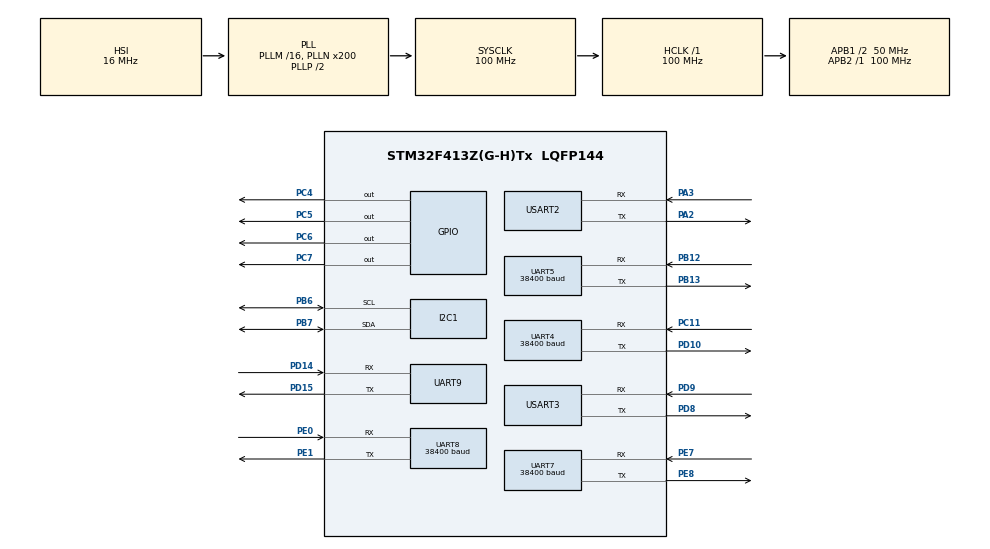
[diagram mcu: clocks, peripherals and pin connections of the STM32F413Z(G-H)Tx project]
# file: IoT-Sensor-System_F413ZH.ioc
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Dma.Request0=USART2_RX
Dma.USART2_RX.0.Direction=DMA_PERIPH_TO_MEMORY
Dma.USART2_RX.0.FIFOMode=DMA_FIFOMODE_DISABLE
Dma.USART2_RX.0.Instance=DMA1_Stream5
Dma.USART2_RX.0.MemDataAlignment=DMA_MDATAALIGN_BYTE
Dma.USART2_RX.0.MemInc=DMA_MINC_ENABLE
Dma.USART2_RX.0.Mode=DMA_CIRCULAR
Dma.USART2_RX.0.PeriphDataAlignment=DMA_PDATAALIGN_BYTE
Dma.USART2_RX.0.PeriphInc=DMA_PINC_DISABLE
Dma.USART2_RX.0.Priority=DMA_PRIORITY_LOW
Mcu.Family=STM32F4
Mcu.Name=STM32F413Z(G-H)Tx
Mcu.Package=LQFP144
NVIC.DMA1_Stream5_IRQn=true\:0\:0\:false\:false\:true\:false\:true
NVIC.PriorityGroup=NVIC_PRIORITYGROUP_4
NVIC.TIM2_IRQn=true\:0\:0\:false\:false\:true\:true\:true
NVIC.USART2_IRQn=true\:0\:0\:false\:false\:true\:true\:true
PA13.Mode=Serial_Wire
PA13.Signal=SYS_JTMS-SWDIO
PA14.Mode=Serial_Wire
PA14.Signal=SYS_JTCK-SWCLK
PA2.Mode=Asynchronous
PA2.Signal=USART2_TX
PA3.Mode=Asynchronous
PA3.Signal=USART2_RX
PB12.Mode=Asynchronous
PB12.Signal=UART5_RX
PB13.Mode=Asynchronous
PB13.Signal=UART5_TX
PB6.GPIO_PuPdOD=GPIO_NOPULL
PB6.Mode=I2C
PB6.Signal=I2C1_SCL
PB7.GPIO_PuPdOD=GPIO_NOPULL
PB7.Mode=I2C
PB7.Signal=I2C1_SDA
PC11.Mode=Asynchronous
PC11.Signal=UART4_RX
PC4.GPIO_PuPd=GPIO_PULLDOWN
PC4.Signal=GPIO_Output
PC5.GPIO_PuPd=GPIO_PULLDOWN
PC5.Signal=GPIO_Output
PC6.GPIO_PuPd=GPIO_PULLDOWN
PC6.Signal=GPIO_Output
PC7.GPIO_PuPd=GPIO_PULLDOWN
PC7.Signal=GPIO_Output
PD10.Mode=Asynchronous
PD10.Signal=UART4_TX
PD14.Mode=Asynchronous
PD14.Signal=UART9_RX
PD15.Mode=Asynchronous
PD15.Signal=UART9_TX
PD8.Mode=Asynchronous
PD8.Signal=USART3_TX
PD9.Mode=Asynchronous
PD9.Signal=USART3_RX
PE0.Mode=Asynchronous
PE0.Signal=UART8_RX
PE1.Mode=Asynchronous
PE1.Signal=UART8_TX
PE7.Mode=Asynchronous
PE7.Signal=UART7_RX
PE8.Mode=Asynchronous
PE8.Signal=UART7_TX
ProjectManager.HeapSize=0x200
ProjectManager.StackSize=0x400
ProjectManager.TargetToolchain=STM32CubeIDE
RCC.AHBFreq_Value=100000000
RCC.APB1CLKDivider=RCC_HCLK_DIV2
RCC.APB1Freq_Value=50000000
RCC.APB1TimFreq_Value=100000000
RCC.APB2Freq_Value=100000000
RCC.APB2TimFreq_Value=100000000
RCC.CortexFreq_Value=100000000
RCC.HCLKFreq_Value=100000000
RCC.PLLN=200
RCC.SYSCLKFreq_VALUE=100000000
RCC.SYSCLKSource=RCC_SYSCLKSOURCE_PLLCLK
RCC.USBFreq_Value=100000000
RCC.VCOOutputFreq_Value=200000000
TIM2.Period=6000000
TIM2.Prescaler=1000
UART4.BaudRate=38400
UART4.VirtualMode=Asynchronous
UART5.BaudRate=38400
UART5.VirtualMode=Asynchronous
UART7.BaudRate=38400
UART7.VirtualMode=Asynchronous
UART8.BaudRate=38400
UART8.VirtualMode=Asynchronous
UART9.VirtualMode=Asynchronous
USART2.VirtualMode=VM_ASYNC
USART3.VirtualMode=VM_ASYNC
VP_RTC_VS_RTC_Activate.Mode=RTC_Enabled
VP_RTC_VS_RTC_Calendar.Mode=RTC_Calendar
VP_TIM2_VS_ClockSourceINT.Mode=Internal
board=custom

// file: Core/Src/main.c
/* USER CODE BEGIN Header */
/**
  ******************************************************************************
  * @file           : main.c
  * @brief          : Main program body
  ******************************************************************************
  * @attention
  *
  * <h2><center>&copy; Copyright (c) 2021 STMicroelectronics.
  * All rights reserved.</center></h2>
  *
  * This software component is licensed by ST under BSD 3-Clause license,
  * the "License"; You may not use this file except in compliance with the
  * License. You may obtain a copy of the License at:
  *                        opensource.org/licenses/BSD-3-Clause
  *
  ******************************************************************************
  */
/* USER CODE END Header */
#include "main.h"

/* USER CODE BEGIN Includes */
#include "ESP32_Driver.h"
#include "RL78_Sensor.h"
#include "SHTC3_Driver.h"
#include "retarget.h"

#include "string.h"
#include "stdio.h"
#include "time.h"
/* USER CODE END Includes */

/* USER CODE BEGIN PD */
#define _SSID "aterm-460e2a-g"
#define _PASS "173ecaa68d508"
#define PRODUCT_TYPE	"IoTSensorUnit01"
#define NUMBER			"2101-1234567890"

//#define AWS_POST_TIME (10*60000)
#define AWS_POST_TIME (2*60000)
/* USER CODE END PD */

I2C_HandleTypeDef hi2c1;

RTC_HandleTypeDef hrtc;

TIM_HandleTypeDef htim2;

UART_HandleTypeDef huart4;
UART_HandleTypeDef huart5;
UART_HandleTypeDef huart7;
UART_HandleTypeDef huart8;
UART_HandleTypeDef huart9;
UART_HandleTypeDef huart2;
UART_HandleTypeDef huart3;
DMA_HandleTypeDef hdma_usart2_rx;

/* USER CODE BEGIN PV */
Network_t ESP32 = {0};
Sensor_t Sensor_1 = {0};
Sensor_t Sensor_2 = {0};
Sensor_t Sensor_3 = {0};
Sensor_t Sensor_4 = {0};

SHTC3_Sensor_t HT_Sensor = {0};

uint8_t mqttBuffer[30720] = {0};
uint8_t msgIndex = 0;
uint8_t client_id[32] = {0};
/* USER CODE END PV */

void SystemClock_Config(void);
static void MX_GPIO_Init(void);
static void MX_DMA_Init(void);
static void MX_RTC_Init(void);
static void MX_UART4_Init(void);
static void MX_UART5_Init(void);
static void MX_UART7_Init(void);
static void MX_UART8_Init(void);
static void MX_USART2_UART_Init(void);
static void MX_USART3_UART_Init(void);
static void MX_I2C1_Init(void);
static void MX_UART9_Init(void);
static void MX_TIM2_Init(void);
/* USER CODE BEGIN PFP */
int16_t Receive_Func( uint8_t *buffer, uint16_t buffer_size, uint32_t time_out);
int16_t Transmit_Func( uint8_t *data, uint16_t data_size);
void Get_Time_Format(uint8_t* time_str, int size ,int timeZone);
void Format_Data(Sensor_t Sensor_1,Sensor_t Sensor_2,Sensor_t Sensor_3,Sensor_t Sensor_4, SHTC3_Sensor_t HT_Sensor,char* data_format, char* time_str);
/* USER CODE END PFP */

int main(void)
{

  /* MCU Configuration--------------------------------------------------------*/

  /* Reset of all peripherals, Initializes the Flash interface and the Systick. */
  HAL_Init();

  /* Configure the system clock */
  SystemClock_Config();

  /* Initialize all configured peripherals */
  MX_GPIO_Init();
  MX_DMA_Init();
  MX_RTC_Init();
  MX_UART4_Init();
  MX_UART5_Init();
  MX_UART7_Init();
  MX_UART8_Init();
  MX_USART2_UART_Init();
  MX_USART3_UART_Init();
  MX_I2C1_Init();
  MX_UART9_Init();
  /* USER CODE BEGIN 2 */
  RetargetInit(&huart9);
  memcpy(ESP32.SSID, _SSID, strlen(_SSID));
  memcpy(ESP32.Pass, _PASS, strlen(_PASS));
  ESP32.IO.IO_Receive = Receive_Func;
  ESP32.IO.IO_Transmit = Transmit_Func;

  printf("----------START PROGRAM----------\r\n");
  sprintf((char*)client_id, "%x%x%x", \
		  (unsigned int)HAL_GetUIDw0(), (unsigned int)HAL_GetUIDw1(), (unsigned int)HAL_GetUIDw2());
  printf("Client ID: %s\r\n", client_id);

  HT_Sensor.interface = &hi2c1;
  SHTC3_Init(&HT_Sensor);
	SHTC3_Measurement(&HT_Sensor);

  Sensor_1.uart_itf = &huart4;
  Sensor_Init(&Sensor_1);

  Sensor_2.uart_itf = &huart5;
  Sensor_Init(&Sensor_2);

  Sensor_3.uart_itf = &huart7;
  Sensor_Init(&Sensor_3);

  Sensor_4.uart_itf = &huart8;
  Sensor_Init(&Sensor_4);

  ESP32_Init(&ESP32);
  ESP32_MQTT_Connect(&ESP32, client_id);
  Network_time_t network_time = ESP32_GetTime();

  RTC_TimeTypeDef sTime = {0};
  sTime.Hours	= network_time.hour;
  sTime.Minutes	= network_time.min;
  sTime.Seconds	= network_time.sec;

  RTC_DateTypeDef sDate = {0};
  sDate.Month	= network_time.month;
  sDate.Date	= network_time.day;
  sDate.Year	= network_time.year - 2000;

  HAL_RTC_SetTime(&hrtc, &sTime, RTC_FORMAT_BIN);
  HAL_RTC_SetDate(&hrtc, &sDate, RTC_FORMAT_BIN);

  MX_TIM2_Init();
  /* USER CODE END 2 */
  HAL_Delay(10000); //Wait 10sec.
  /* Infinite loop */
  /* USER CODE BEGIN WHILE */
  while (1)
  {
	  sprintf((char*)mqttBuffer, "{");
	  HAL_Delay(AWS_POST_TIME);
	  mqttBuffer[strlen((char*)mqttBuffer)-1] = 0;
	  sprintf((char*)mqttBuffer, "%s}", (char*)mqttBuffer);
	  ESP32_MQTT_Public(&ESP32, (uint8_t*)"/devices/IoTSensorUnit", mqttBuffer);
	  memset(mqttBuffer, 0, sizeof(mqttBuffer));
	  msgIndex = 0;

    /* USER CODE END WHILE */

  }
}

void SystemClock_Config(void)
{
  RCC_OscInitTypeDef RCC_OscInitStruct = {0};
  RCC_ClkInitTypeDef RCC_ClkInitStruct = {0};
  RCC_PeriphCLKInitTypeDef PeriphClkInitStruct = {0};

  /** Configure the main internal regulator output voltage
  */
  __HAL_RCC_PWR_CLK_ENABLE();
  __HAL_PWR_VOLTAGESCALING_CONFIG(PWR_REGULATOR_VOLTAGE_SCALE1);
  /** Initializes the RCC Oscillators according to the specified parameters
  * in the RCC_OscInitTypeDef structure.
  */
  RCC_OscInitStruct.OscillatorType = RCC_OSCILLATORTYPE_HSI|RCC_OSCILLATORTYPE_LSI;
  RCC_OscInitStruct.HSIState = RCC_HSI_ON;
  RCC_OscInitStruct.HSICalibrationValue = RCC_HSICALIBRATION_DEFAULT;
  RCC_OscInitStruct.LSIState = RCC_LSI_ON;
  RCC_OscInitStruct.PLL.PLLState = RCC_PLL_ON;
  RCC_OscInitStruct.PLL.PLLSource = RCC_PLLSOURCE_HSI;
  RCC_OscInitStruct.PLL.PLLM = 16;
  RCC_OscInitStruct.PLL.PLLN = 200;
  RCC_OscInitStruct.PLL.PLLP = RCC_PLLP_DIV2;
  RCC_OscInitStruct.PLL.PLLQ = 2;
  RCC_OscInitStruct.PLL.PLLR = 2;
  if (HAL_RCC_OscConfig(&RCC_OscInitStruct) != HAL_OK)
  {
    Error_Handler();
  }
  /** Initializes the CPU, AHB and APB buses clocks
  */
  RCC_ClkInitStruct.ClockType = RCC_CLOCKTYPE_HCLK|RCC_CLOCKTYPE_SYSCLK
                              |RCC_CLOCKTYPE_PCLK1|RCC_CLOCKTYPE_PCLK2;
  RCC_ClkInitStruct.SYSCLKSource = RCC_SYSCLKSOURCE_PLLCLK;
  RCC_ClkInitStruct.AHBCLKDivider = RCC_SYSCLK_DIV1;
  RCC_ClkInitStruct.APB1CLKDivider = RCC_HCLK_DIV2;
  RCC_ClkInitStruct.APB2CLKDivider = RCC_HCLK_DIV1;

  if (HAL_RCC_ClockConfig(&RCC_ClkInitStruct, FLASH_LATENCY_3) != HAL_OK)
  {
    Error_Handler();
  }
  PeriphClkInitStruct.PeriphClockSelection = RCC_PERIPHCLK_RTC;
  PeriphClkInitStruct.RTCClockSelection = RCC_RTCCLKSOURCE_LSI;
  if (HAL_RCCEx_PeriphCLKConfig(&PeriphClkInitStruct) != HAL_OK)
  {
    Error_Handler();
  }
}

static void MX_I2C1_Init(void)
{

  hi2c1.Instance = I2C1;
  hi2c1.Init.ClockSpeed = 100000;
  hi2c1.Init.DutyCycle = I2C_DUTYCYCLE_2;
  hi2c1.Init.OwnAddress1 = 0;
  hi2c1.Init.AddressingMode = I2C_ADDRESSINGMODE_7BIT;
  hi2c1.Init.DualAddressMode = I2C_DUALADDRESS_DISABLE;
  hi2c1.Init.OwnAddress2 = 0;
  hi2c1.Init.GeneralCallMode = I2C_GENERALCALL_DISABLE;
  hi2c1.Init.NoStretchMode = I2C_NOSTRETCH_DISABLE;
  if (HAL_I2C_Init(&hi2c1) != HAL_OK)
  {
    Error_Handler();
  }

}

static void MX_RTC_Init(void)
{

  RTC_TimeTypeDef sTime = {0};
  RTC_DateTypeDef sDate = {0};

  /** Initialize RTC Only
  */
  hrtc.Instance = RTC;
  hrtc.Init.HourFormat = RTC_HOURFORMAT_24;
  hrtc.Init.AsynchPrediv = 127;
  hrtc.Init.SynchPrediv = 255;
  hrtc.Init.OutPut = RTC_OUTPUT_DISABLE;
  hrtc.Init.OutPutPolarity = RTC_OUTPUT_POLARITY_HIGH;
  hrtc.Init.OutPutType = RTC_OUTPUT_TYPE_OPENDRAIN;
  if (HAL_RTC_Init(&hrtc) != HAL_OK)
  {
    Error_Handler();
  }

  /** Initialize RTC and set the Time and Date
  */
  sTime.Hours = 0x0;
  sTime.Minutes = 0x0;
  sTime.Seconds = 0x0;
  sTime.DayLightSaving = RTC_DAYLIGHTSAVING_NONE;
  sTime.StoreOperation = RTC_STOREOPERATION_RESET;
  if (HAL_RTC_SetTime(&hrtc, &sTime, RTC_FORMAT_BCD) != HAL_OK)
  {
    Error_Handler();
  }
  sDate.WeekDay = RTC_WEEKDAY_MONDAY;
  sDate.Month = RTC_MONTH_JANUARY;
  sDate.Date = 0x1;
  sDate.Year = 0x0;

  if (HAL_RTC_SetDate(&hrtc, &sDate, RTC_FORMAT_BCD) != HAL_OK)
  {
    Error_Handler();
  }

}

static void MX_TIM2_Init(void)
{

  TIM_ClockConfigTypeDef sClockSourceConfig = {0};
  TIM_MasterConfigTypeDef sMasterConfig = {0};

  htim2.Instance = TIM2;
  htim2.Init.Prescaler = 1000;
  htim2.Init.CounterMode = TIM_COUNTERMODE_UP;
  htim2.Init.Period = 6000000;
  htim2.Init.ClockDivision = TIM_CLOCKDIVISION_DIV1;
  htim2.Init.AutoReloadPreload = TIM_AUTORELOAD_PRELOAD_DISABLE;
  if (HAL_TIM_Base_Init(&htim2) != HAL_OK)
  {
    Error_Handler();
  }
  sClockSourceConfig.ClockSource = TIM_CLOCKSOURCE_INTERNAL;
  if (HAL_TIM_ConfigClockSource(&htim2, &sClockSourceConfig) != HAL_OK)
  {
    Error_Handler();
  }
  sMasterConfig.MasterOutputTrigger = TIM_TRGO_RESET;
  sMasterConfig.MasterSlaveMode = TIM_MASTERSLAVEMODE_DISABLE;
  if (HAL_TIMEx_MasterConfigSynchronization(&htim2, &sMasterConfig) != HAL_OK)
  {
    Error_Handler();
  }
  /* USER CODE BEGIN TIM2_Init 2 */
  __HAL_TIM_CLEAR_FLAG(&htim2, TIM_FLAG_UPDATE);
  __HAL_TIM_ENABLE_IT(&htim2, TIM_IT_UPDATE);
  HAL_TIM_Base_Start_IT(&htim2);
  /* USER CODE END TIM2_Init 2 */

}

static void MX_UART4_Init(void)
{

  huart4.Instance = UART4;
  huart4.Init.BaudRate = 38400;
  huart4.Init.WordLength = UART_WORDLENGTH_8B;
  huart4.Init.StopBits = UART_STOPBITS_1;
  huart4.Init.Parity = UART_PARITY_NONE;
  huart4.Init.Mode = UART_MODE_TX_RX;
  huart4.Init.HwFlowCtl = UART_HWCONTROL_NONE;
  huart4.Init.OverSampling = UART_OVERSAMPLING_16;
  if (HAL_UART_Init(&huart4) != HAL_OK)
  {
    Error_Handler();
  }

}

static void MX_UART5_Init(void)
{

  huart5.Instance = UART5;
  huart5.Init.BaudRate = 38400;
  huart5.Init.WordLength = UART_WORDLENGTH_8B;
  huart5.Init.StopBits = UART_STOPBITS_1;
  huart5.Init.Parity = UART_PARITY_NONE;
  huart5.Init.Mode = UART_MODE_TX_RX;
  huart5.Init.HwFlowCtl = UART_HWCONTROL_NONE;
  huart5.Init.OverSampling = UART_OVERSAMPLING_16;
  if (HAL_UART_Init(&huart5) != HAL_OK)
  {
    Error_Handler();
  }

}

static void MX_UART7_Init(void)
{

  huart7.Instance = UART7;
  huart7.Init.BaudRate = 38400;
  huart7.Init.WordLength = UART_WORDLENGTH_8B;
  huart7.Init.StopBits = UART_STOPBITS_1;
  huart7.Init.Parity = UART_PARITY_NONE;
  huart7.Init.Mode = UART_MODE_TX_RX;
  huart7.Init.HwFlowCtl = UART_HWCONTROL_NONE;
  huart7.Init.OverSampling = UART_OVERSAMPLING_16;
  if (HAL_UART_Init(&huart7) != HAL_OK)
  {
    Error_Handler();
  }

}

static void MX_UART8_Init(void)
{

  huart8.Instance = UART8;
  huart8.Init.BaudRate = 38400;
  huart8.Init.WordLength = UART_WORDLENGTH_8B;
  huart8.Init.StopBits = UART_STOPBITS_1;
  huart8.Init.Parity = UART_PARITY_NONE;
  huart8.Init.Mode = UART_MODE_TX_RX;
  huart8.Init.HwFlowCtl = UART_HWCONTROL_NONE;
  huart8.Init.OverSampling = UART_OVERSAMPLING_16;
  if (HAL_UART_Init(&huart8) != HAL_OK)
  {
    Error_Handler();
  }

}

static void MX_UART9_Init(void)
{

  huart9.Instance = UART9;
  huart9.Init.BaudRate = 115200;
  huart9.Init.WordLength = UART_WORDLENGTH_8B;
  huart9.Init.StopBits = UART_STOPBITS_1;
  huart9.Init.Parity = UART_PARITY_NONE;
  huart9.Init.Mode = UART_MODE_TX_RX;
  huart9.Init.HwFlowCtl = UART_HWCONTROL_NONE;
  huart9.Init.OverSampling = UART_OVERSAMPLING_16;
  if (HAL_UART_Init(&huart9) != HAL_OK)
  {
    Error_Handler();
  }

}

static void MX_USART2_UART_Init(void)
{

  huart2.Instance = USART2;
  huart2.Init.BaudRate = 115200;
  huart2.Init.WordLength = UART_WORDLENGTH_8B;
  huart2.Init.StopBits = UART_STOPBITS_1;
  huart2.Init.Parity = UART_PARITY_NONE;
  huart2.Init.Mode = UART_MODE_TX_RX;
  huart2.Init.HwFlowCtl = UART_HWCONTROL_NONE;
  huart2.Init.OverSampling = UART_OVERSAMPLING_16;
  if (HAL_UART_Init(&huart2) != HAL_OK)
  {
    Error_Handler();
  }
  /* USER CODE BEGIN USART2_Init 2 */
//  __HAL_UART_ENABLE_IT(&huart2, UART_IT_RXNE);
  HAL_UART_Receive_DMA(&huart2,  ESP32.IO.buffer, BUFFER_SIZE);
  /* USER CODE END USART2_Init 2 */

}

static void MX_USART3_UART_Init(void)
{

  huart3.Instance = USART3;
  huart3.Init.BaudRate = 115200;
  huart3.Init.WordLength = UART_WORDLENGTH_8B;
  huart3.Init.StopBits = UART_STOPBITS_1;
  huart3.Init.Parity = UART_PARITY_NONE;
  huart3.Init.Mode = UART_MODE_TX_RX;
  huart3.Init.HwFlowCtl = UART_HWCONTROL_NONE;
  huart3.Init.OverSampling = UART_OVERSAMPLING_16;
  if (HAL_UART_Init(&huart3) != HAL_OK)
  {
    Error_Handler();
  }

}

static void MX_DMA_Init(void)
{

  /* DMA controller clock enable */
  __HAL_RCC_DMA1_CLK_ENABLE();

  /* DMA interrupt init */
  /* DMA1_Stream5_IRQn interrupt configuration */
  HAL_NVIC_SetPriority(DMA1_Stream5_IRQn, 0, 0);
  HAL_NVIC_EnableIRQ(DMA1_Stream5_IRQn);

}

static void MX_GPIO_Init(void)
{
  GPIO_InitTypeDef GPIO_InitStruct = {0};

  /* GPIO Ports Clock Enable */
  __HAL_RCC_GPIOA_CLK_ENABLE();
  __HAL_RCC_GPIOC_CLK_ENABLE();
  __HAL_RCC_GPIOE_CLK_ENABLE();
  __HAL_RCC_GPIOB_CLK_ENABLE();
  __HAL_RCC_GPIOD_CLK_ENABLE();

  /*Configure GPIO pin Output Level */
  HAL_GPIO_WritePin(GPIOC, GPIO_PIN_4|GPIO_PIN_5|GPIO_PIN_6|GPIO_PIN_7, GPIO_PIN_RESET);

  /*Configure GPIO pins : PC4 PC5 PC6 PC7 */
  GPIO_InitStruct.Pin = GPIO_PIN_4|GPIO_PIN_5|GPIO_PIN_6|GPIO_PIN_7;
  GPIO_InitStruct.Mode = GPIO_MODE_OUTPUT_PP;
  GPIO_InitStruct.Pull = GPIO_PULLDOWN;
  GPIO_InitStruct.Speed = GPIO_SPEED_FREQ_LOW;
  HAL_GPIO_Init(GPIOC, &GPIO_InitStruct);

}

/* USER CODE BEGIN 4 */

int16_t Receive_Func( uint8_t *buffer, uint16_t buffer_size, uint32_t time_out)
{
	uint32_t timeout = 0;
	memset(buffer, 0, buffer_size);
	uint16_t read_index = 0;
	do
	{
		uint8_t check_buff[BUFFER_SIZE] = {0};
		uint8_t cnt=0;
		read_index = ESP32.IO.read_pos;

		do
		{
			check_buff[cnt++] = ESP32.IO.buffer[read_index];
			if(++read_index>=BUFFER_SIZE)
				read_index = 0;
		}while(ESP32.IO.buffer[read_index] != 0);

		//if((strstr((char*)ESP32.IO.buffer + ESP32.IO.read_pos, "\r\nOK\r\n")!=0)||(strstr((char*)ESP32.IO.buffer + ESP32.IO.read_pos, "\r\nERROR\r\n")!=0))
		if((strstr((char*)check_buff, "\r\nOK")!=0)||(strstr((char*)check_buff, "ERROR")!=0)
				||(strstr((char*)check_buff, "ready")!=0)||(strstr((char*)check_buff, "+MQTTPUB:OK")!=0))
		{
			uint8_t index = 0;
			memcpy(buffer, check_buff, cnt);
			for(int i = 0; i < cnt; i++)
			{
				int temp = ((ESP32.IO.read_pos + i)<BUFFER_SIZE)?(ESP32.IO.read_pos + i):((ESP32.IO.read_pos + i)-BUFFER_SIZE);
				ESP32.IO.buffer[temp] = 0;
			}
			printf("[debug]: %s--position: %d\r\n", buffer, ESP32.IO.read_pos);
			ESP32.IO.read_pos = read_index;
			return index;
		}

		if(++timeout >= time_out)
			return -1;
		HAL_Delay(1);
	}while(1);
}

int16_t Transmit_Func( uint8_t *data, uint16_t data_size)
{
	HAL_StatusTypeDef res = HAL_UART_Transmit(&huart2, data, data_size, HAL_MAX_DELAY);
	if(res != HAL_OK)
		return -1;
	else
		return 0;

}

void Get_Time_Format(uint8_t* time_str, int size ,int timeZone)
{
	RTC_TimeTypeDef stime = {0};
	RTC_DateTypeDef sdate = {0};
	HAL_RTC_GetTime(&hrtc, &stime, RTC_FORMAT_BIN);
	HAL_RTC_GetDate(&hrtc, &sdate, RTC_FORMAT_BIN);

	struct tm proc_time = {0};

	proc_time.tm_year = 2000 + sdate.Year - 1900;
	proc_time.tm_mon = sdate.Month - 1;
	proc_time.tm_mday = sdate.Date;
	proc_time.tm_hour = stime.Hours;
	proc_time.tm_min = stime.Minutes;
	proc_time.tm_sec = stime.Seconds;

	mktime(&proc_time);
	proc_time.tm_hour += timeZone;
	mktime(&proc_time);
	//2021-01-12 12:00:00+09
	memset(time_str, 0, size);
	sprintf((char*)time_str, "%.4d-%.2d-%.2d %.2d:%.2d:%.2d+%.2d:00", (int)proc_time.tm_year + 1900, (int)proc_time.tm_mon + 1
	, (int)proc_time.tm_mday, (int)proc_time.tm_hour, (int)proc_time.tm_min, (int)proc_time.tm_sec, timeZone);
}

void Format_Data(Sensor_t Sensor_1,Sensor_t Sensor_2,Sensor_t Sensor_3,Sensor_t Sensor_4, SHTC3_Sensor_t HT_Sensor,char* data_format, char* time_str)
{
	Sensor_t Sensors[4] = {Sensor_1, Sensor_2, Sensor_3, Sensor_4};
	char sensor_value[256] = {0};
	if(HT_Sensor.connection == shtc3_connected)
	{
		sprintf(sensor_value, "%s\t\t\"%s\":%.1f,\r\n", sensor_value, "Temp",HT_Sensor.data.tem);
		sprintf(sensor_value, "%s\t\t\"%s\":%.1f", sensor_value, "Rh",HT_Sensor.data.hum);
		for(int i = 0; i< 4; i++)
		{
			if(Sensors[i].isConnected == connected)
			{
				sprintf(sensor_value,"%s,\r\n", sensor_value);
				break;
			}
		}
	}

	for(int i = 0; i < 4; i++)
	{
		if(Sensors[i].isConnected == connected)
		{
			sprintf(sensor_value, "%s\t\t\"%s\":%.1f", sensor_value, Sensors[i].name, Sensors[i].value);
			if(i<(4-1))
				sprintf(sensor_value,"%s,\r\n", sensor_value);
		}
	}
//	if(HT_Sensor.connection == shtc3_connected)
//	{
//		sprintf(sensor_value, "%s\t\t\"%s\":%.1f,\r\n", sensor_value, "Temp",HT_Sensor.data.tem);
//		sprintf(sensor_value, "%s\t\t\"%s\":%.1f\r\n", sensor_value, "Rh",HT_Sensor.data.hum);
//	}
//	else
//	{	//delete , in end of json
//		sensor_value[strlen(sensor_value)-1] = 0;
//		sensor_value[strlen(sensor_value)-2] = '\n';
//		sensor_value[strlen(sensor_value)-3] = '\r';
//	}
	sprintf(data_format, "{\r\n\t\"time\":\"%s\",\r\n\t\"product type\":\"%s\",\r\n\t\"number\":\"%s\",\r\n\t\"values\":\r\n\t{\r\n%s\r\n\t}\r\n}",
			time_str, PRODUCT_TYPE, NUMBER, sensor_value);
}

void HAL_TIM_PeriodElapsedCallback(TIM_HandleTypeDef* htim)
{
	Sensor_Get_Value(&Sensor_1);
	Sensor_Get_Value(&Sensor_2);
	Sensor_Get_Value(&Sensor_3);
	Sensor_Get_Value(&Sensor_4);
	uint8_t time_str[128] = {0};
	Get_Time_Format(time_str, sizeof(time_str), 9);

	SHTC3_Measurement(&HT_Sensor);
	char data2send[512] = {0};
	Format_Data(Sensor_1, Sensor_2, Sensor_3, Sensor_4, HT_Sensor, data2send, (char*)time_str);
	sprintf((char*)mqttBuffer, "%s\r\n\"index_%d\":%s,",  mqttBuffer, msgIndex++, data2send);
	printf("Get Sensor Data.\r\n");

}
/* USER CODE END 4 */

void Error_Handler(void)
{
  __disable_irq();
  while (1)
  {
  }
}

/************************ (C) COPYRIGHT STMicroelectronics *****END OF FILE****/
